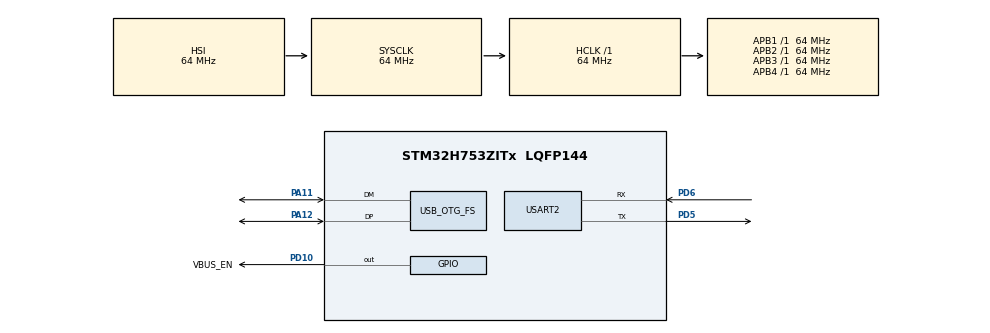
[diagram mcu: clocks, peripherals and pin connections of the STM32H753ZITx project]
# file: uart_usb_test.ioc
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CORTEX_M7.CPU_DCache=Disabled
CORTEX_M7.CPU_ICache=Disabled
CORTEX_M7.MPU_Control=__NULL
CORTEX_M7.default_mode_Activation=1
FATFS._CODE_PAGE=932
FATFS._USE_LFN=1
Mcu.Family=STM32H7
Mcu.Name=STM32H753ZITx
Mcu.Package=LQFP144
NUCLEO-H753ZI.BUTTON=1
NUCLEO-H753ZI.LD1=true
NUCLEO-H753ZI.LD2=true
NUCLEO-H753ZI.LD3=true
NUCLEO-H753ZI.VCP=true
NVIC.EXTI15_10_IRQn=true\:0\:0\:false\:false\:true\:false\:true\:true
NVIC.OTG_FS_IRQn=true\:0\:0\:false\:false\:true\:false\:true\:true
NVIC.PriorityGroup=NVIC_PRIORITYGROUP_4
PA11.Mode=Host_Only
PA11.Signal=USB_OTG_FS_DM
PA12.Mode=Host_Only
PA12.Signal=USB_OTG_FS_DP
PC14-OSC32_IN\ (OSC32_IN).Signal=RCC_OSC32_IN
PC15-OSC32_OUT\ (OSC32_OUT).Signal=RCC_OSC32_OUT
PD10.GPIO_Label=VBUS_EN
PD10.PinState=GPIO_PIN_RESET
PD10.Signal=GPIO_Output
PD5.Mode=Asynchronous
PD5.Signal=USART2_TX
PD6.Mode=Asynchronous
PD6.Signal=USART2_RX
PD8.Signal=USART3_TX
PD9.Signal=USART3_RX
PH0-OSC_IN\ (PH0).Signal=RCC_OSC_IN
PH1-OSC_OUT\ (PH1).Signal=RCC_OSC_OUT
ProjectManager.HeapSize=0x200
ProjectManager.StackSize=0x400
ProjectManager.TargetToolchain=STM32CubeIDE
RCC.ADCFreq_Value=129000000
RCC.APB1Freq_Value=64000000
RCC.APB2Freq_Value=64000000
RCC.APB3Freq_Value=64000000
RCC.APB4Freq_Value=64000000
RCC.CortexFreq_Value=64000000
RCC.DIVM1=1
RCC.DIVN1=24
RCC.DIVQ1=4
RCC.HCLKFreq_Value=64000000
RCC.HSE_VALUE=8000000
RCC.PLLFRACN=0
RCC.PWR_Regulator_Voltage_Scale=PWR_REGULATOR_VOLTAGE_SCALE2
RCC.SYSCLKFreq_VALUE=64000000
RCC.USBCLockSelection=RCC_USBCLKSOURCE_HSI48
RCC.USBFreq_Value=48000000
USART2.VirtualMode-Asynchronous=VM_ASYNC
USB_HOST.BSP.number=1
USB_HOST.SW_VBUS_DRIVE_MSC_FS=false
USB_HOST.USBH_HandleTypeDef-MSC_FS=hUsbHostFS
USB_HOST.VirtualModeFS=Msc
USB_HOST0.BSP.STBoard=false
USB_HOST0.BSP.api=Unknown
USB_HOST0.BSP.condition=SW_VBUS_DRIVE_MSC_FS \= false
USB_HOST0.BSP.instance=PD10
USB_HOST0.BSP.ip=GPIO
USB_HOST0.BSP.mode=Output
USB_HOST0.BSP.name=Drive_VBUS_FS
USB_HOST0.BSP.solution=PD10
USB_OTG_FS.VirtualMode=Host_Only
USB_OTG_FS.phy_itface=HCD_PHY_EMBEDDED
VP_FATFS_VS_USB.Mode=USB
VP_MEMORYMAP_VS_MEMORYMAP.Mode=CurAppReg
VP_NUCLEO-H753ZI_VS_BSP_COMMON.Mode=COMMON
VP_USB_HOST_VS_USB_HOST_MSC_FS.Mode=MSC_FS
board=NUCLEO-H753ZI

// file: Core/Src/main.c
/* USER CODE BEGIN Header */
/**
  ******************************************************************************
  * @file           : main.c
  * @brief          : Main program body
  ******************************************************************************
  * @attention
  *
  * Copyright (c) 2026 STMicroelectronics.
  * All rights reserved.
  *
  * This software is licensed under terms that can be found in the LICENSE file
  * in the root directory of this software component.
  * If no LICENSE file comes with this software, it is provided AS-IS.
  *
  ******************************************************************************
  */
/* USER CODE END Header */
#include "main.h"
#include "fatfs.h"
#include "usb_host.h"

/* USER CODE BEGIN Includes */
#include "ff.h"
#include <string.h>
/* USER CODE END Includes */

COM_InitTypeDef BspCOMInit;

UART_HandleTypeDef huart2;

/* USER CODE BEGIN PV */
extern ApplicationTypeDef Appli_state;

/* USER CODE END PV */

void SystemClock_Config(void);
static void MX_GPIO_Init(void);
static void MX_USART2_UART_Init(void);
void MX_USB_HOST_Process(void);

int main(void)
{

  /* MCU Configuration--------------------------------------------------------*/

  /* Reset of all peripherals, Initializes the Flash interface and the Systick. */
  HAL_Init();

  /* Configure the system clock */
  SystemClock_Config();

  /* Initialize all configured peripherals */
  MX_GPIO_Init();
  MX_FATFS_Init();
  MX_USART2_UART_Init();
  MX_USB_HOST_Init();
  /* USER CODE BEGIN 2 */
  FRESULT fs_result;
  UINT bytes_written = 0U;
  uint8_t rx_char = 0U;
  char file_data[4];
  const char *file_name = "uart_rx.txt";

  /* USER CODE END 2 */

  /* Initialize leds */
  BSP_LED_Init(LED_GREEN);
  BSP_LED_Init(LED_YELLOW);
  BSP_LED_Init(LED_RED);

  /* Initialize USER push-button, will be used to trigger an interrupt each time it's pressed.*/
  BSP_PB_Init(BUTTON_USER, BUTTON_MODE_EXTI);

  /* Initialize COM1 port (115200, 8 bits (7-bit data + 1 stop bit), no parity */
  BspCOMInit.BaudRate   = 115200;
  BspCOMInit.WordLength = COM_WORDLENGTH_8B;
  BspCOMInit.StopBits   = COM_STOPBITS_1;
  BspCOMInit.Parity     = COM_PARITY_NONE;
  BspCOMInit.HwFlowCtl  = COM_HWCONTROL_NONE;
  if (BSP_COM_Init(COM1, &BspCOMInit) != BSP_ERROR_NONE)
  {
    Error_Handler();
  }

  /* Infinite loop */
  /* USER CODE BEGIN WHILE */
  HAL_Delay(1000);
  while (1)
  {
    MX_USB_HOST_Process();

    if (HAL_UART_Receive(&huart2, &rx_char, 1U, 10U) == HAL_OK)
    {
      (void)HAL_UART_Transmit(&huart2, &rx_char, 1U, 100U);

      if (Appli_state != APPLICATION_READY)
      {
        continue;
      }

      file_data[0] = (char)rx_char;
      file_data[1] = '\r';
      file_data[2] = '\n';
      file_data[3] = '\0';

      fs_result = f_mount(&USBHFatFS, USBHPath, 1U);
      if (fs_result == FR_OK)
      {
        fs_result = f_open(&USBHFile, file_name, FA_CREATE_ALWAYS | FA_WRITE);
        if (fs_result == FR_OK)
        {
          fs_result = f_write(&USBHFile, file_data, strlen(file_data), &bytes_written);
          (void)fs_result;
          (void)bytes_written;
          (void)f_close(&USBHFile);
        }
        (void)f_mount(NULL, USBHPath, 1U);
      }
    }

    /* USER CODE END WHILE */
    MX_USB_HOST_Process();

  }
}

void SystemClock_Config(void)
{
  RCC_OscInitTypeDef RCC_OscInitStruct = {0};
  RCC_ClkInitTypeDef RCC_ClkInitStruct = {0};

  /** Supply configuration update enable
  */
  HAL_PWREx_ConfigSupply(PWR_LDO_SUPPLY);

  /** Configure the main internal regulator output voltage
  */
  __HAL_PWR_VOLTAGESCALING_CONFIG(PWR_REGULATOR_VOLTAGE_SCALE2);

  while(!__HAL_PWR_GET_FLAG(PWR_FLAG_VOSRDY)) {}

  /** Initializes the RCC Oscillators according to the specified parameters
  * in the RCC_OscInitTypeDef structure.
  */
  RCC_OscInitStruct.OscillatorType = RCC_OSCILLATORTYPE_HSI48|RCC_OSCILLATORTYPE_HSI;
  RCC_OscInitStruct.HSIState = RCC_HSI_DIV1;
  RCC_OscInitStruct.HSICalibrationValue = RCC_HSICALIBRATION_DEFAULT;
  RCC_OscInitStruct.HSI48State = RCC_HSI48_ON;
  RCC_OscInitStruct.PLL.PLLState = RCC_PLL_NONE;
  if (HAL_RCC_OscConfig(&RCC_OscInitStruct) != HAL_OK)
  {
    Error_Handler();
  }

  /** Initializes the CPU, AHB and APB buses clocks
  */
  RCC_ClkInitStruct.ClockType = RCC_CLOCKTYPE_HCLK|RCC_CLOCKTYPE_SYSCLK
                              |RCC_CLOCKTYPE_PCLK1|RCC_CLOCKTYPE_PCLK2
                              |RCC_CLOCKTYPE_D3PCLK1|RCC_CLOCKTYPE_D1PCLK1;
  RCC_ClkInitStruct.SYSCLKSource = RCC_SYSCLKSOURCE_HSI;
  RCC_ClkInitStruct.SYSCLKDivider = RCC_SYSCLK_DIV1;
  RCC_ClkInitStruct.AHBCLKDivider = RCC_HCLK_DIV1;
  RCC_ClkInitStruct.APB3CLKDivider = RCC_APB3_DIV1;
  RCC_ClkInitStruct.APB1CLKDivider = RCC_APB1_DIV1;
  RCC_ClkInitStruct.APB2CLKDivider = RCC_APB2_DIV1;
  RCC_ClkInitStruct.APB4CLKDivider = RCC_APB4_DIV1;

  if (HAL_RCC_ClockConfig(&RCC_ClkInitStruct, FLASH_LATENCY_1) != HAL_OK)
  {
    Error_Handler();
  }
}

static void MX_USART2_UART_Init(void)
{

  huart2.Instance = USART2;
  huart2.Init.BaudRate = 115200;
  huart2.Init.WordLength = UART_WORDLENGTH_8B;
  huart2.Init.StopBits = UART_STOPBITS_1;
  huart2.Init.Parity = UART_PARITY_NONE;
  huart2.Init.Mode = UART_MODE_TX_RX;
  huart2.Init.HwFlowCtl = UART_HWCONTROL_NONE;
  huart2.Init.OverSampling = UART_OVERSAMPLING_16;
  huart2.Init.OneBitSampling = UART_ONE_BIT_SAMPLE_DISABLE;
  huart2.Init.ClockPrescaler = UART_PRESCALER_DIV1;
  huart2.AdvancedInit.AdvFeatureInit = UART_ADVFEATURE_NO_INIT;
  if (HAL_UART_Init(&huart2) != HAL_OK)
  {
    Error_Handler();
  }
  if (HAL_UARTEx_SetTxFifoThreshold(&huart2, UART_TXFIFO_THRESHOLD_1_8) != HAL_OK)
  {
    Error_Handler();
  }
  if (HAL_UARTEx_SetRxFifoThreshold(&huart2, UART_RXFIFO_THRESHOLD_1_8) != HAL_OK)
  {
    Error_Handler();
  }
  if (HAL_UARTEx_DisableFifoMode(&huart2) != HAL_OK)
  {
    Error_Handler();
  }

}

static void MX_GPIO_Init(void)
{
  GPIO_InitTypeDef GPIO_InitStruct = {0};

  /* GPIO Ports Clock Enable */
  __HAL_RCC_GPIOC_CLK_ENABLE();
  __HAL_RCC_GPIOH_CLK_ENABLE();
  __HAL_RCC_GPIOD_CLK_ENABLE();
  __HAL_RCC_GPIOA_CLK_ENABLE();

  /*Configure GPIO pin Output Level */
  HAL_GPIO_WritePin(VBUS_EN_GPIO_Port, VBUS_EN_Pin, GPIO_PIN_RESET);

  /*Configure GPIO pin : VBUS_EN_Pin */
  GPIO_InitStruct.Pin = VBUS_EN_Pin;
  GPIO_InitStruct.Mode = GPIO_MODE_OUTPUT_PP;
  GPIO_InitStruct.Pull = GPIO_NOPULL;
  GPIO_InitStruct.Speed = GPIO_SPEED_FREQ_LOW;
  HAL_GPIO_Init(VBUS_EN_GPIO_Port, &GPIO_InitStruct);

}

void Error_Handler(void)
{
  __disable_irq();
  while (1)
  {
  }
}
